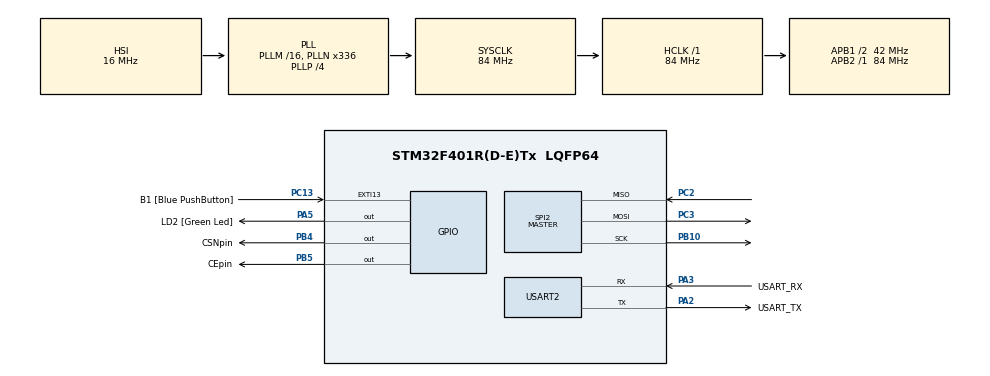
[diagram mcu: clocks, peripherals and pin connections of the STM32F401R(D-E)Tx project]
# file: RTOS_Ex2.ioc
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Dma.Request0=SPI2_TX
Dma.Request1=SPI2_RX
Dma.SPI2_RX.1.Direction=DMA_PERIPH_TO_MEMORY
Dma.SPI2_RX.1.FIFOMode=DMA_FIFOMODE_DISABLE
Dma.SPI2_RX.1.Instance=DMA1_Stream3
Dma.SPI2_RX.1.MemDataAlignment=DMA_MDATAALIGN_BYTE
Dma.SPI2_RX.1.MemInc=DMA_MINC_ENABLE
Dma.SPI2_RX.1.Mode=DMA_NORMAL
Dma.SPI2_RX.1.PeriphDataAlignment=DMA_PDATAALIGN_BYTE
Dma.SPI2_RX.1.PeriphInc=DMA_PINC_DISABLE
Dma.SPI2_RX.1.Priority=DMA_PRIORITY_MEDIUM
Dma.SPI2_TX.0.Direction=DMA_MEMORY_TO_PERIPH
Dma.SPI2_TX.0.FIFOMode=DMA_FIFOMODE_DISABLE
Dma.SPI2_TX.0.Instance=DMA1_Stream4
Dma.SPI2_TX.0.MemDataAlignment=DMA_MDATAALIGN_BYTE
Dma.SPI2_TX.0.MemInc=DMA_MINC_ENABLE
Dma.SPI2_TX.0.Mode=DMA_NORMAL
Dma.SPI2_TX.0.PeriphDataAlignment=DMA_PDATAALIGN_BYTE
Dma.SPI2_TX.0.PeriphInc=DMA_PINC_DISABLE
Dma.SPI2_TX.0.Priority=DMA_PRIORITY_MEDIUM
FREERTOS.Tasks01=defaultTask,0,128,StartDefaultTask,Default,NULL,Dynamic,NULL,NULL
Mcu.Family=STM32F4
Mcu.Name=STM32F401R(D-E)Tx
Mcu.Package=LQFP64
NVIC.DMA1_Stream3_IRQn=true\:5\:0\:false\:false\:true\:true\:false\:true\:true
NVIC.DMA1_Stream4_IRQn=true\:5\:0\:false\:false\:true\:true\:false\:true\:true
NVIC.PriorityGroup=NVIC_PRIORITYGROUP_4
NVIC.TIM1_UP_TIM10_IRQn=true\:15\:0\:false\:false\:true\:false\:false\:true\:true
NVIC.TimeBase=TIM1_UP_TIM10_IRQn
NVIC.TimeBaseIP=TIM1
NVIC.USART2_IRQn=true\:5\:0\:false\:false\:true\:true\:true\:true\:true
PA13.GPIO_Label=TMS
PA13.Mode=Serial_Wire
PA13.Signal=SYS_JTMS-SWDIO
PA14.GPIO_Label=TCK
PA14.Mode=Serial_Wire
PA14.Signal=SYS_JTCK-SWCLK
PA2.GPIO_Label=USART_TX
PA2.GPIO_Mode=GPIO_MODE_AF_PP
PA2.GPIO_PuPd=GPIO_NOPULL
PA2.GPIO_Speed=GPIO_SPEED_FREQ_LOW
PA2.Mode=Asynchronous
PA2.Signal=USART2_TX
PA3.GPIO_Label=USART_RX
PA3.GPIO_Mode=GPIO_MODE_AF_PP
PA3.GPIO_PuPd=GPIO_NOPULL
PA3.GPIO_Speed=GPIO_SPEED_FREQ_LOW
PA3.Mode=Asynchronous
PA3.Signal=USART2_RX
PA5.GPIO_Label=LD2 [Green Led]
PA5.GPIO_Mode=GPIO_MODE_OUTPUT_PP
PA5.GPIO_PuPd=GPIO_NOPULL
PA5.GPIO_Speed=GPIO_SPEED_FREQ_LOW
PA5.Signal=GPIO_Output
PB10.Mode=Full_Duplex_Master
PB10.Signal=SPI2_SCK
PB3.GPIO_Label=SWO
PB3.Signal=SYS_JTDO-SWO
PB4.GPIO_Label=CSNpin
PB4.Signal=GPIO_Output
PB5.GPIO_Label=CEpin
PB5.Signal=GPIO_Output
PC13-ANTI_TAMP.GPIO_Label=B1 [Blue PushButton]
PC13-ANTI_TAMP.GPIO_ModeDefaultEXTI=GPIO_MODE_IT_FALLING
PC13-ANTI_TAMP.GPIO_PuPd=GPIO_NOPULL
PC13-ANTI_TAMP.Signal=GPXTI13
PC14-OSC32_IN.Mode=LSE-External-Oscillator
PC14-OSC32_IN.Signal=RCC_OSC32_IN
PC15-OSC32_OUT.Mode=LSE-External-Oscillator
PC15-OSC32_OUT.Signal=RCC_OSC32_OUT
PC2.Mode=Full_Duplex_Master
PC2.Signal=SPI2_MISO
PC3.Mode=Full_Duplex_Master
PC3.Signal=SPI2_MOSI
PH0\ -\ OSC_IN.Mode=HSE-External-Clock-Source
PH0\ -\ OSC_IN.Signal=RCC_OSC_IN
PH1\ -\ OSC_OUT.Mode=HSE-External-Clock-Source
PH1\ -\ OSC_OUT.Signal=RCC_OSC_OUT
ProjectManager.HeapSize=0x200
ProjectManager.StackSize=0x400
ProjectManager.TargetToolchain=STM32CubeIDE
RCC.48MHZClocksFreq_Value=48000000
RCC.AHBFreq_Value=84000000
RCC.APB1CLKDivider=RCC_HCLK_DIV2
RCC.APB1Freq_Value=42000000
RCC.APB1TimFreq_Value=84000000
RCC.APB2Freq_Value=84000000
RCC.APB2TimFreq_Value=84000000
RCC.CortexFreq_Value=84000000
RCC.HCLKFreq_Value=84000000
RCC.HSE_VALUE=8000000
RCC.HSI_VALUE=16000000
RCC.PLLN=336
RCC.PLLP=RCC_PLLP_DIV4
RCC.PLLQ=7
RCC.SYSCLKFreq_VALUE=84000000
RCC.SYSCLKSource=RCC_SYSCLKSOURCE_PLLCLK
RCC.VCOOutputFreq_Value=336000000
SPI2.BaudRatePrescaler=SPI_BAUDRATEPRESCALER_8
SPI2.Direction=SPI_DIRECTION_2LINES
SPI2.Mode=SPI_MODE_MASTER
SPI2.VirtualType=VM_MASTER
USART2.VirtualMode=VM_ASYNC
VP_FREERTOS_VS_CMSIS_V1.Mode=CMSIS_V1
VP_SYS_VS_tim1.Mode=TIM1
board=NUCLEO-F401RE

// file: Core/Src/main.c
/* USER CODE END Header */
#include "main.h"
#include "cmsis_os.h"

/* USER CODE BEGIN Includes */
#include "FreeRTOS.h"
#include "task.h"
#include "timers.h"
#include "queue.h"
#include "semphr.h"
// #include "event_groups.h"
#include <stdio.h>
#include <string.h>
#include "MY_NRF24.h"
#include "stm32f4xx_hal.h"
//#include "arm_math.h"
/* USER CODE END Includes */

SPI_HandleTypeDef hspi2;
DMA_HandleTypeDef hdma_spi2_tx;
DMA_HandleTypeDef hdma_spi2_rx;

UART_HandleTypeDef huart2;

osThreadId defaultTaskHandle;
/* USER CODE BEGIN PV */
SemaphoreHandle_t Semaphore1;
SemaphoreHandle_t Semaphore2;
SemaphoreHandle_t Semaphore3;
SemaphoreHandle_t Semaphore4;

QueueHandle_t Queue_Data;
QueueHandle_t Queue_FFT;
QueueHandle_t Alert;

int cte0 = 0; int cte1 = 0;
int cte2 = 0; int cte3 = 0;
int cte4 = 0;

TaskHandle_t xHandle_Init = NULL;

uint8_t get_hardware[28] = "\nArduino Data Logger\r\n\r\n";
uint8_t get_gain[10] = "8\r\n\r\n";
uint8_t get_fs[10] = "2\r\n\r\n";
uint8_t get_decimalChannelMask[6] = "1\r\n\r\n";
uint8_t get_SerialNumber[45] = "FBFCD069-50593539-302E3120-FF110E08\r\n\r\n";
uint8_t get_SystemID[10] = "1\r\n\r\n";
uint8_t set_SystemID[32] = "param_iternalSystemID=0\r\n\r\n";
uint8_t Received[52] = "Arduino Received the following command : 11\r\n\r\n";
uint8_t bytes[8] = "1234\r\n\r\n"; // 4 bytes for the storage of individuals

#define DATA_POINTS 4096
//#define FFT_BUFFER_SIZE 4096 // This size must be a power of 2

//arm_rfft_fast_instance_f32 fft_instance;
//float32_t data_in[FFT_BUFFER_SIZE];
//float32_t data_out_fft[FFT_BUFFER_SIZE];
//uint8_t fftFlag = 0;
/* USER CODE END PV */

void SystemClock_Config(void);
static void MX_GPIO_Init(void);
static void MX_DMA_Init(void);
static void MX_USART2_UART_Init(void);
static void MX_SPI2_Init(void);
void StartDefaultTask(void const * argument);

/* USER CODE BEGIN PFP */
void Start_ADC(void const * argument);
void FFT_Data(void const * argument);
void Output_Data(void const * argument);
void Init_Param(void const * argument);

float INL_Messages (void);		//uint32_t INL_Messages (void)
void INL_UART_Final (uint32_t);		//void INL_UART_Final (float)
/* USER CODE END PFP */

/* USER CODE BEGIN 0 */
int __io_putchar(int ch){
	HAL_UART_Transmit(&huart2, (uint8_t *)&ch, 1, 100);
	return ch;
}
uint8_t address[][6] = { "1Node", "2Node" };
//uint64_t address1 = 0x1122334401;
//uint64_t address2 = 0x1122334402;

char myTxData[32] = "11";
char myRxData[32];

bool radioNumber;
int32_t data_time=0;
int32_t data_freq=0;
/* USER CODE END 0 */

int main(void)
{

  /* MCU Configuration--------------------------------------------------------*/

  /* Reset of all peripherals, Initializes the Flash interface and the Systick. */
  HAL_Init();

  /* Configure the system clock */
  SystemClock_Config();

  /* Initialize all configured peripherals */
  MX_GPIO_Init();
  MX_DMA_Init();
  MX_USART2_UART_Init();
  MX_SPI2_Init();
  /* USER CODE BEGIN 2 */
	NRF24_begin(CSNpin_GPIO_Port, CSNpin_Pin, CEpin_Pin, hspi2);
	nrf24_DebugUART_Init(huart2);

	NRF24_setAutoAck(true);
	NRF24_setChannel(76);
	NRF24_setPayloadSize(sizeof(myRxData));
	radioNumber = 0;
	NRF24_startListening();
	NRF24_openReadingPipe_B(1, address[!radioNumber]);

	HAL_Delay(100);
	NRF24_stopListening();
	NRF24_openWritingPipe_B(address[radioNumber]);
	//k = 0;
  /* USER CODE END 2 */

  /* USER CODE BEGIN RTOS_SEMAPHORES */
  /* add semaphores, ... */
  Semaphore1 = xSemaphoreCreateBinary();
  if(Semaphore1 == 0)
    {
  	  printf("Semaphore1 was not created\n\r");
    }
    else
    {
    	printf("Semaphore1 was created\n\r");
    }
  Semaphore2 = xSemaphoreCreateBinary();
  if(Semaphore2 == 0)
      {
	  	  printf("Semaphore2 was not created\n\r");
      }
      else
      {
    	  printf("Semaphore2 was created\n\r");
      }
  Semaphore3 = xSemaphoreCreateBinary();
  if(Semaphore3 == 0)
  	  {
      	  printf("Semaphore3 was not created\n\r");
  	  }
  else
  	  {
	  	  printf("Semaphore3 was created\n\r");
  	  }
  Semaphore4 = xSemaphoreCreateBinary();
  if(Semaphore4 == 0)
    	  {
        	  printf("Semaphore4 was not created\n\r");
    	  }
    else
    	  {
  	  	  printf("Semaphore4 was created\n\r");
    	  }
  xSemaphoreGive(Semaphore1);
  //xSemaphoreGive(Semaphore4);
  //xSemaphoreTake(Semaphore2, 0);
  /* USER CODE END RTOS_SEMAPHORES */

  /* USER CODE BEGIN RTOS_QUEUES */
  /* add queues, ... */
  Queue_FFT = xQueueCreate( DATA_POINTS, sizeof(float) ); //Queue_FFT
  if(Queue_FFT == 0)
  {
	  printf("Queue Queue_FFT was not created\n\r");
  }
  else
  {
	  printf("Queue Queue_FFT was created\n\r");
  }
  Queue_Data = xQueueCreate( DATA_POINTS, sizeof(float) ); // cantidad y tipo/tamaño Queue_Data
  if(Queue_Data == 0)
  {
	  printf("Queue Queue_Data was not created\n\r");
  }
  else
  {
	  printf("Queue Queue_Data was created\n\r");
  }
  Alert = xQueueCreate( 1, sizeof(float) ); // cantidad y tipo/tamaño Queue_Data
  if(Alert == 0)
  {
	  printf("Queue Queue_Data was not created\n\r");
  }
  else
  {
	  printf("Queue Queue_Data was created\n\r");
  }
  /* USER CODE END RTOS_QUEUES */

  /* Create the thread(s) */
  /* definition and creation of defaultTask */
  osThreadDef(defaultTask, StartDefaultTask, osPriorityNormal, 0, 128);
  defaultTaskHandle = osThreadCreate(osThread(defaultTask), NULL);

  /* USER CODE BEGIN RTOS_THREADS */
  /* add threads, ... */
  xTaskCreate((void *)Start_ADC, "startADC", configMINIMAL_STACK_SIZE, NULL, tskIDLE_PRIORITY + 4, NULL);
  xTaskCreate((void *)FFT_Data, "FFTproc", configMINIMAL_STACK_SIZE, NULL, tskIDLE_PRIORITY + 3, NULL);
  xTaskCreate((void *)Output_Data, "OutData", configMINIMAL_STACK_SIZE, NULL, tskIDLE_PRIORITY + 2, NULL);
  xTaskCreate((void *)Init_Param, "ParamIn", configMINIMAL_STACK_SIZE, NULL, tskIDLE_PRIORITY + 1, &xHandle_Init);
  vTaskStartScheduler();
  /* USER CODE END RTOS_THREADS */

  /* Start scheduler */
  osKernelStart();
  /* We should never get here as control is now taken by the scheduler */
  /* Infinite loop */
  while (1)
  {

  }
}

void SystemClock_Config(void)
{
  RCC_OscInitTypeDef RCC_OscInitStruct = {0};
  RCC_ClkInitTypeDef RCC_ClkInitStruct = {0};

  /** Configure the main internal regulator output voltage
  */
  __HAL_RCC_PWR_CLK_ENABLE();
  __HAL_PWR_VOLTAGESCALING_CONFIG(PWR_REGULATOR_VOLTAGE_SCALE2);

  /** Initializes the RCC Oscillators according to the specified parameters
  * in the RCC_OscInitTypeDef structure.
  */
  RCC_OscInitStruct.OscillatorType = RCC_OSCILLATORTYPE_HSI;
  RCC_OscInitStruct.HSIState = RCC_HSI_ON;
  RCC_OscInitStruct.HSICalibrationValue = RCC_HSICALIBRATION_DEFAULT;
  RCC_OscInitStruct.PLL.PLLState = RCC_PLL_ON;
  RCC_OscInitStruct.PLL.PLLSource = RCC_PLLSOURCE_HSI;
  RCC_OscInitStruct.PLL.PLLM = 16;
  RCC_OscInitStruct.PLL.PLLN = 336;
  RCC_OscInitStruct.PLL.PLLP = RCC_PLLP_DIV4;
  RCC_OscInitStruct.PLL.PLLQ = 7;
  if (HAL_RCC_OscConfig(&RCC_OscInitStruct) != HAL_OK)
  {
    Error_Handler();
  }

  /** Initializes the CPU, AHB and APB buses clocks
  */
  RCC_ClkInitStruct.ClockType = RCC_CLOCKTYPE_HCLK|RCC_CLOCKTYPE_SYSCLK
                              |RCC_CLOCKTYPE_PCLK1|RCC_CLOCKTYPE_PCLK2;
  RCC_ClkInitStruct.SYSCLKSource = RCC_SYSCLKSOURCE_PLLCLK;
  RCC_ClkInitStruct.AHBCLKDivider = RCC_SYSCLK_DIV1;
  RCC_ClkInitStruct.APB1CLKDivider = RCC_HCLK_DIV2;
  RCC_ClkInitStruct.APB2CLKDivider = RCC_HCLK_DIV1;

  if (HAL_RCC_ClockConfig(&RCC_ClkInitStruct, FLASH_LATENCY_2) != HAL_OK)
  {
    Error_Handler();
  }
}

static void MX_SPI2_Init(void)
{

  /* SPI2 parameter configuration*/
  hspi2.Instance = SPI2;
  hspi2.Init.Mode = SPI_MODE_MASTER;
  hspi2.Init.Direction = SPI_DIRECTION_2LINES;
  hspi2.Init.DataSize = SPI_DATASIZE_8BIT;
  hspi2.Init.CLKPolarity = SPI_POLARITY_LOW;
  hspi2.Init.CLKPhase = SPI_PHASE_1EDGE;
  hspi2.Init.NSS = SPI_NSS_SOFT;
  hspi2.Init.BaudRatePrescaler = SPI_BAUDRATEPRESCALER_8;
  hspi2.Init.FirstBit = SPI_FIRSTBIT_MSB;
  hspi2.Init.TIMode = SPI_TIMODE_DISABLE;
  hspi2.Init.CRCCalculation = SPI_CRCCALCULATION_DISABLE;
  hspi2.Init.CRCPolynomial = 10;
  if (HAL_SPI_Init(&hspi2) != HAL_OK)
  {
    Error_Handler();
  }

}

static void MX_USART2_UART_Init(void)
{

  huart2.Instance = USART2;
  huart2.Init.BaudRate = 115200;
  huart2.Init.WordLength = UART_WORDLENGTH_8B;
  huart2.Init.StopBits = UART_STOPBITS_1;
  huart2.Init.Parity = UART_PARITY_NONE;
  huart2.Init.Mode = UART_MODE_TX_RX;
  huart2.Init.HwFlowCtl = UART_HWCONTROL_NONE;
  huart2.Init.OverSampling = UART_OVERSAMPLING_16;
  if (HAL_UART_Init(&huart2) != HAL_OK)
  {
    Error_Handler();
  }

}

static void MX_DMA_Init(void)
{

  /* DMA controller clock enable */
  __HAL_RCC_DMA1_CLK_ENABLE();

  /* DMA interrupt init */
  /* DMA1_Stream3_IRQn interrupt configuration */
  HAL_NVIC_SetPriority(DMA1_Stream3_IRQn, 5, 0);
  HAL_NVIC_EnableIRQ(DMA1_Stream3_IRQn);
  /* DMA1_Stream4_IRQn interrupt configuration */
  HAL_NVIC_SetPriority(DMA1_Stream4_IRQn, 5, 0);
  HAL_NVIC_EnableIRQ(DMA1_Stream4_IRQn);

}

static void MX_GPIO_Init(void)
{
  GPIO_InitTypeDef GPIO_InitStruct = {0};

  /* GPIO Ports Clock Enable */
  __HAL_RCC_GPIOC_CLK_ENABLE();
  __HAL_RCC_GPIOH_CLK_ENABLE();
  __HAL_RCC_GPIOA_CLK_ENABLE();
  __HAL_RCC_GPIOB_CLK_ENABLE();

  /*Configure GPIO pin Output Level */
  HAL_GPIO_WritePin(LD2_GPIO_Port, LD2_Pin, GPIO_PIN_RESET);

  /*Configure GPIO pin Output Level */
  HAL_GPIO_WritePin(GPIOB, CSNpin_Pin|CEpin_Pin, GPIO_PIN_RESET);

  /*Configure GPIO pin : B1_Pin */
  GPIO_InitStruct.Pin = B1_Pin;
  GPIO_InitStruct.Mode = GPIO_MODE_IT_FALLING;
  GPIO_InitStruct.Pull = GPIO_NOPULL;
  HAL_GPIO_Init(B1_GPIO_Port, &GPIO_InitStruct);

  /*Configure GPIO pin : LD2_Pin */
  GPIO_InitStruct.Pin = LD2_Pin;
  GPIO_InitStruct.Mode = GPIO_MODE_OUTPUT_PP;
  GPIO_InitStruct.Pull = GPIO_NOPULL;
  GPIO_InitStruct.Speed = GPIO_SPEED_FREQ_LOW;
  HAL_GPIO_Init(LD2_GPIO_Port, &GPIO_InitStruct);

  /*Configure GPIO pins : CSNpin_Pin CEpin_Pin */
  GPIO_InitStruct.Pin = CSNpin_Pin|CEpin_Pin;
  GPIO_InitStruct.Mode = GPIO_MODE_OUTPUT_PP;
  GPIO_InitStruct.Pull = GPIO_NOPULL;
  GPIO_InitStruct.Speed = GPIO_SPEED_FREQ_LOW;
  HAL_GPIO_Init(GPIOB, &GPIO_InitStruct);

}

/* USER CODE BEGIN 4 */
void Start_ADC(void const * argument){
	float Data_In[DATA_POINTS];
	int uxNumberOfFreeSpaces = 0;
	int i = 0;
	UBaseType_t uxPriority;
	uxPriority = uxTaskPriorityGet( NULL );
	while(1){
		vTaskPrioritySet( xHandle_Init, ( uxPriority + 1));
		if(xSemaphoreTake(Semaphore1,portMAX_DELAY)==pdTRUE){
			for(i = 0; i<DATA_POINTS; i++){
				Data_In[i] = INL_Messages();
				bool report = NRF24_write(&myTxData, sizeof(myTxData));
				if (report) {
					NRF24_startListening();
					if(NRF24_available()){
						HAL_GPIO_WritePin(LD2_GPIO_Port, LD2_Pin, GPIO_PIN_RESET);
						NRF24_read(myRxData, sizeof(myRxData));
						myRxData[32] = '\r'; myRxData[32+1] = '\n';
						data_time = (atof(myRxData))/1;
						bytes[0] = (data_time >> 24) & 0xFF;
						bytes[1] = (data_time >> 16) & 0xFF;
						bytes[2] = (data_time >> 8) & 0xFF;
						bytes[3] = data_time & 0xFF;
					}
				}
				Data_In[i] = data_time;
				xQueueSend(Queue_Data, &Data_In[i], portMAX_DELAY);
				uxNumberOfFreeSpaces = uxQueueSpacesAvailable( Queue_Data );
			}
			xSemaphoreGive(Semaphore2);
		}
	}
}
void FFT_Data(void const * argument)
{
	float Data[DATA_POINTS];
	float Processed[DATA_POINTS];
	float out[1];
	int uxNumberOfFreeSpaces = 0;
	int i = 0, k = 0, j = 0;
	float aux, sum = 0, prom;

	//arm_rfft_fast_init_f32(&fft_instance, DATA_POINTS);

	while(1)
	{
		if(xSemaphoreTake(Semaphore2,portMAX_DELAY)==pdTRUE){
			for(i = 0; i<DATA_POINTS; i++){
				xQueueReceive(Queue_Data, &Data[i], portMAX_DELAY);
				Processed[i] = Data[i];
				if(i == DATA_POINTS-1){
					// apply FFT
			//		//arm_rfft_fast_f32(&fft_instance, Data, Processed, 0);
					// extract absolute values by computing the magnitude of the complex numbers
					// Pay attention that after this operation,
					// half of the buffer possesses the magnitudes
			//		//arm_cmplx_mag_f32(Processed, Processed, FFT_BUFFER_SIZE/2);
					// bias removal
					Processed[0] = 0;
				}
				xQueueSend(Queue_FFT, &Processed[i], portMAX_DELAY);
				uxNumberOfFreeSpaces = uxQueueSpacesAvailable( Queue_Data );
			}

			xSemaphoreGive(Semaphore3);
			/*
			if(uxNumberOfFreeSpaces > DATA_POINTS-1){
				for(k = 0;k<DATA_POINTS;k++) {
					for(j = 0;j<4-k;j++) {
						if (Processed[j]>Processed[j+1]) {
							aux=Processed[j];
							Processed[j]=Processed[j+1];
							Processed[j+1]=aux;
						}
					}
				}
				k=1;
				for(k = 1;k<DATA_POINTS-1;k++) {
					sum = sum + Processed[k];
				}
				prom = sum/(DATA_POINTS-2);
				out[0] = prom;
			}*/
		}
	}
}

void Output_Data(void const * argument)
{
	float Data[DATA_POINTS];
	float Final_Output[1];		//float flag_Alert[1];

	int uxNumberOfFreeSpaces;	//TickType_t T1, T2, TE;
	const TickType_t xBlockTime = pdMS_TO_TICKS( 10 ); // 10 ms a Ticks
	UBaseType_t uxPriority; int i = 0;
	uxPriority = uxTaskPriorityGet( NULL );
	while(1)
	{
		if(xSemaphoreTake(Semaphore3,portMAX_DELAY)==pdTRUE)
		{	/* Get the time the function started. */
			for(i = 0; i<DATA_POINTS; i++){
				xQueueReceive(Queue_FFT, &Data[i], portMAX_DELAY);
				HAL_UART_Transmit_DMA(&huart2, &Data[i], sizeof(float));
				uxNumberOfFreeSpaces = uxQueueSpacesAvailable( Queue_FFT );
			}
			//uxNumberOfFreeSpaces = uxQueueSpacesAvailable( Queue_FFT );
			//xQueueReceive(Queue_FFT, Data, portMAX_DELAY);
			//uxNumberOfFreeSpaces = uxQueueSpacesAvailable( Queue_FFT );
			/*
			Final_Output[0] = Data[0] +1;
			if(Final_Output[0]<1){
				HAL_GPIO_WritePin(LD2_GPIO_Port, LD2_Pin, GPIO_PIN_SET);
			}
			else{
				HAL_GPIO_WritePin(LD2_GPIO_Port, LD2_Pin, GPIO_PIN_RESET);
				INL_UART_Final(Final_Output[0]);
			}*/
			cte0 = 11;
			cte0 = 22;
			vTaskDelay(xBlockTime);
			xSemaphoreGive(Semaphore1);
		}
	}
}

void Init_Param( void const * argument)
{
	UBaseType_t uxPriority;
	uxPriority = uxTaskPriorityGet( xHandle_Init );
	const TickType_t xBlockTime = pdMS_TO_TICKS( 10 ); // 10 ms a Ticks

	for( ;; )
	{
		HAL_GPIO_WritePin(LD2_GPIO_Port, LD2_Pin, GPIO_PIN_SET);
		uxPriority = uxTaskPriorityGet( NULL );
		if(uxPriority >1){
			cte0 = 444;

			INL_Messages();

			vTaskDelete(xHandle_Init);
		}
		else
			vTaskDelay(xBlockTime);
	}
}

float INL_Messages (void)
{
	HAL_UART_Transmit(&huart2, get_hardware, sizeof(get_hardware), 10);

	HAL_UART_Transmit(&huart2, get_gain, sizeof(get_gain), 10);

	HAL_UART_Transmit(&huart2, get_fs, sizeof(get_fs), 10);

	HAL_UART_Transmit(&huart2, get_hardware, sizeof(get_hardware), 10);

	HAL_UART_Transmit(&huart2, get_decimalChannelMask, sizeof(get_decimalChannelMask), 10);

	HAL_UART_Transmit(&huart2, get_SerialNumber, sizeof(get_SerialNumber), 10);

	return 0;
}

void INL_UART_Final (uint32_t Salida)
{
	float flagMessageR = 0;

	int uxNumberOfFreeSpaces;
	uxNumberOfFreeSpaces = uxQueueSpacesAvailable( Alert );
	if(uxNumberOfFreeSpaces < 1){
		xQueueReceive(Alert, &flagMessageR, portMAX_DELAY);
	}
	if(flagMessageR > 0)
		cte4 = 100+flagMessageR;
	else
		cte4 = 200+flagMessageR;
}

/* USER CODE END 4 */

void StartDefaultTask(void const * argument)
{
  for(;;)
  {
    osDelay(1);
  }
}

void HAL_TIM_PeriodElapsedCallback(TIM_HandleTypeDef *htim)
{
  if (htim->Instance == TIM1) {
    HAL_IncTick();
  }
}

void Error_Handler(void)
{
  __disable_irq();
  while (1)
  {
  }
}
